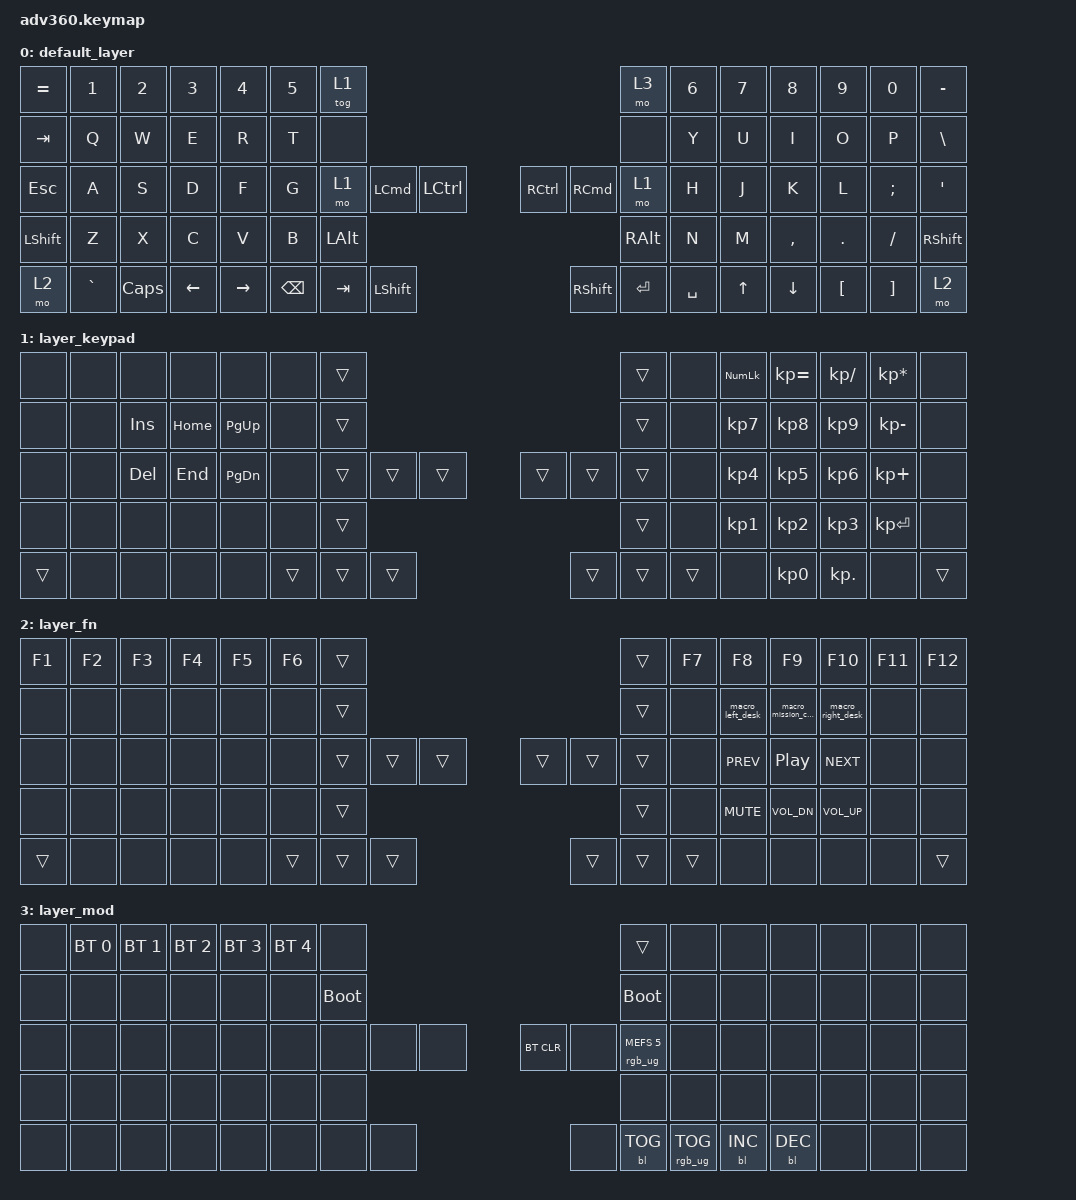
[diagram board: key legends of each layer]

/*
 * Copyright (c) 2020 The ZMK Contributors
 *
 * SPDX-License-Identifier: MIT
 */


/* THIS FILE WAS GENERATED!
 *
 * This file was generated automatically. You may or may not want to
 * edit it directly.
 */

#include <behaviors.dtsi>
#include <dt-bindings/zmk/keys.h>
#include <dt-bindings/zmk/bt.h>
#include <dt-bindings/zmk/rgb.h>
#include <dt-bindings/zmk/backlight.h>

/ {
  behaviors {
    #include "macros.dtsi"
    #include "version.dtsi"

    hm: homerow_mods {
        compatible = "zmk,behavior-hold-tap";
        label = "HOMEROW_MODS";
        #binding-cells = <2>;
        tapping-term-ms = <200>;
        quick_tap_ms = <175>;
        flavor = "tap-preferred";
        bindings = <&kp>, <&kp>;
    };
  };

    keymap {
        compatible = "zmk,keymap";


        default_layer {
            bindings = <
 &kp EQUAL     &kp N1    &kp N2    &kp N3     &kp N4  &kp N5              &tog 1                                                                   &mo 3  &kp N6  &kp N7     &kp N8    &kp N9    &kp N0  &kp MINUS
   &kp TAB      &kp Q     &kp W     &kp E      &kp R   &kp T               &none                                                                   &none   &kp Y   &kp U      &kp I     &kp O     &kp P   &kp BSLH
   &kp ESC      &kp A     &kp S     &kp D      &kp F   &kp G               &mo 1  &kp LCMD   &kp LCTRL                   &kp RCTRL   &kp RCMD      &mo 1   &kp H   &kp J      &kp K     &kp L  &kp SEMI    &kp SQT
 &kp LSHFT      &kp Z     &kp X     &kp C      &kp V   &kp B                                  &kp LALT                    &kp RALT                         &kp N   &kp M  &kp COMMA   &kp DOT  &kp FSLH  &kp RSHFT
     &mo 2  &kp GRAVE  &kp CAPS  &kp LEFT  &kp RIGHT                    &kp BSPC   &kp TAB  &kp LSHIFT                  &kp RSHIFT  &kp ENTER  &kp SPACE          &kp UP   &kp DOWN  &kp LBKT  &kp RBKT      &mo 2
            >;
        };

        layer_keypad {
            bindings = <
  &none   &none    &none     &none      &none   &none            &trans                                                  &trans   &none  &kp KP_NUM  &kp KP_EQUAL  &kp KP_DIVIDE  &kp KP_MULTIPLY   &none
  &none   &none  &kp INS  &kp HOME  &kp PG_UP   &none            &trans                                                  &trans   &none   &kp KP_N7     &kp KP_N8      &kp KP_N9     &kp KP_MINUS   &none
  &none   &none  &kp DEL   &kp END  &kp PG_DN   &none            &trans  &trans  &trans                  &trans  &trans  &trans   &none   &kp KP_N4     &kp KP_N5      &kp KP_N6      &kp KP_PLUS   &none
  &none   &none    &none     &none      &none   &none                            &trans                  &trans                   &none   &kp KP_N1     &kp KP_N2      &kp KP_N3     &kp KP_ENTER   &none
 &trans   &none    &none     &none      &none                    &trans  &trans  &trans                  &trans  &trans  &trans               &none     &kp KP_N0     &kp KP_DOT            &none  &trans
            >;
        };

        layer_fn {
            bindings = <
 &kp F1  &kp F2  &kp F3  &kp F4  &kp F5  &kp F6            &trans                                                  &trans  &kp F7            &kp F8               &kp F9            &kp F10  &kp F11  &kp F12
  &none   &none   &none   &none   &none   &none            &trans                                                  &trans   &none  &macro_left_desk  &macro_mission_ctrl  &macro_right_desk    &none    &none
  &none   &none   &none   &none   &none   &none            &trans  &trans  &trans                  &trans  &trans  &trans   &none        &kp C_PREV             &kp C_PP         &kp C_NEXT    &none    &none
  &none   &none   &none   &none   &none   &none                            &trans                  &trans                   &none        &kp C_MUTE         &kp C_VOL_DN       &kp C_VOL_UP    &none    &none
 &trans   &none   &none   &none   &none                    &trans  &trans  &trans                  &trans  &trans  &trans                     &none                &none              &none    &none   &trans
            >;
        };

        layer_mod {
            bindings = <
  &none  &bt BT_SEL 0  &bt BT_SEL 1  &bt BT_SEL 2  &bt BT_SEL 3  &bt BT_SEL 4                  &none                                                                          &trans   &none       &none       &none   &none   &none   &none
  &none         &none         &none         &none         &none         &none            &bootloader                                                                     &bootloader   &none       &none       &none   &none   &none   &none
  &none         &none         &none         &none         &none         &none                  &none   &none   &none                  &bt BT_CLR       &none  &rgb_ug RGB_MEFS_CMD 5   &none       &none       &none   &none   &none   &none
  &none         &none         &none         &none         &none         &none                                  &none                       &none                                       &none       &none       &none   &none   &none   &none
  &none         &none         &none         &none         &none                                &none   &none   &none                       &none  &bl BL_TOG         &rgb_ug RGB_TOG          &bl BL_INC  &bl BL_DEC   &none   &none   &none
            >;
        };

    };
};
